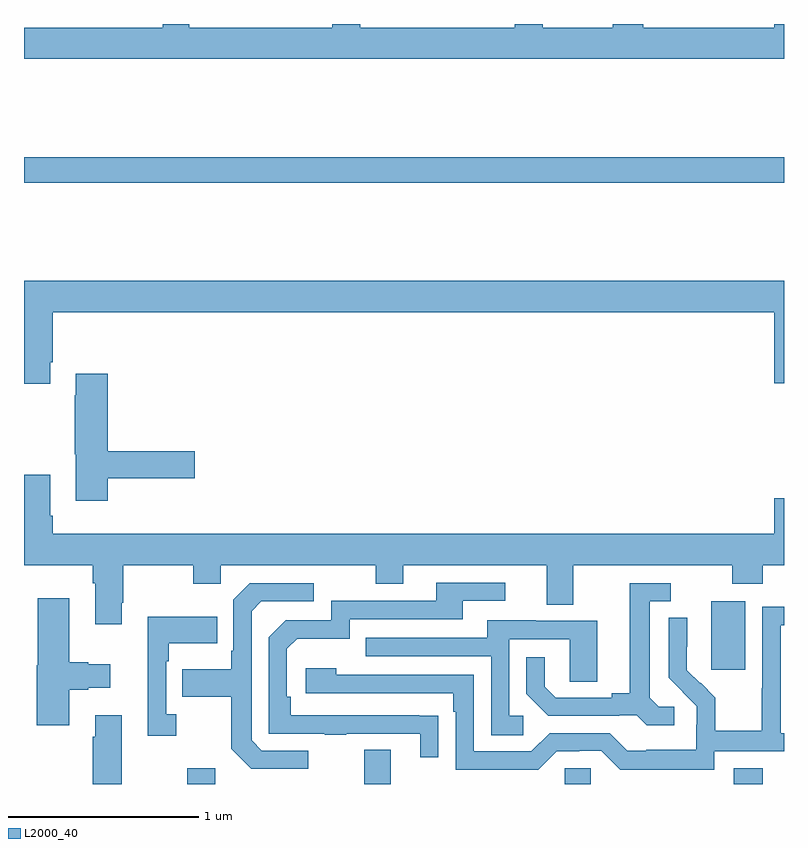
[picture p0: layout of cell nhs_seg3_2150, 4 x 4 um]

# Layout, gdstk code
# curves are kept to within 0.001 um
import gdstk
lib = gdstk.Library(unit=1e-6, precision=1e-09)
def R(c, l, rs):  # rectangles x0, y0, x1, y1
    for r in rs: c.add(gdstk.rectangle(r[:2], r[2:], *l))
def P(c, l, *ps):  # polygons
    for p in ps: c.add(gdstk.Polygon(p, *l))
L2000_40 = (2000, 40)

nhs_seg3_2150 = lib.new_cell('nhs_seg3_2150')
R(nhs_seg3_2150, L2000_40, [(221.86,730.4,222.007,730.483), (222.791,730.4,222.931,730.579), (223.845,730.4,223.983,730.482), (224.735,730.4,224.888,730.483), (224.618,731.001,224.797,731.362), (221,733.564,225,733.7)])
P(nhs_seg3_2150, L2000_40, [(225,734.4),(224.948,734.4),(224.948,734.38),(224.258,734.38),(224.258,734.4),(224.098,734.4),(224.098,734.38),(223.731,734.38),(223.731,734.4),(223.584,734.4),(223.584,734.38),(222.771,734.38),(222.771,734.4),(222.623,734.4),(222.623,734.38),(221.869,734.38),(221.869,734.4),(221.729,734.4),(221.729,734.38),(221,734.38),(221,734.216),(225,734.216)],
  [(221.137,732.619),(221.15,732.619),(221.15,732.884),(224.948,732.884),(224.948,732.51),(225,732.51),(225,733.048),(221,733.048),(221,732.507),(221.137,732.507)],
  [(221.441,732.01),(221.899,732.01),(221.899,732.152),(221.441,732.152),(221.441,732.559),(221.273,732.559),(221.273,732.446),(221.266,732.446),(221.266,732.135),(221.273,732.135),(221.273,731.892),(221.441,731.892)],
  [(221.515,731.353),(221.523,731.353),(221.523,731.552),(221.89,731.552),(221.89,731.453),(222.036,731.453),(222.036,731.552),(222.85,731.552),(222.85,731.453),(222.997,731.453),(222.997,731.552),(223.751,731.552),(223.751,731.344),(223.891,731.344),(223.891,731.552),(224.728,731.552),(224.728,731.453),(224.888,731.453),(224.888,731.552),(225,731.552),(225,731.905),(224.948,731.905),(224.948,731.716),(221.15,731.716),(221.15,731.812),(221.137,731.812),(221.137,732.028),(221,732.028),(221,731.552),(221.363,731.552),(221.363,731.456),(221.375,731.456),(221.375,731.241),(221.515,731.241)],
  [(223.181,730.76),(222.404,730.761),(222.404,730.858),(222.384,730.858),(222.384,731.112),(222.437,731.165),(222.714,731.165),(222.714,731.268),(223.309,731.268),(223.309,731.364),(223.534,731.364),(223.534,731.46),(223.169,731.46),(223.169,731.364),(222.618,731.364),(222.618,731.262),(222.378,731.262),(222.288,731.172),(222.288,730.665),(222.583,730.665),(222.583,730.66),(222.695,730.66),(222.695,730.665),(223.085,730.665),(223.085,730.542),(223.181,730.542)],
  [(222.496,730.575),(222.252,730.575),(222.198,730.629),(222.198,731.31),(222.249,731.361),(222.526,731.361),(222.526,731.457),(222.189,731.457),(222.102,731.37),(222.102,731.101),(222.09,731.101),(222.09,731.005),(221.833,731.005),(221.833,730.858),(222.09,730.858),(222.09,730.585),(222.195,730.479),(222.496,730.479)],
  [(224.422,730.806),(224.34,730.806),(224.293,730.853),(224.293,731.361),(224.404,731.361),(224.404,731.457),(224.189,731.457),(224.189,730.877),(224.093,730.877),(224.093,730.854),(223.798,730.854),(223.741,730.911),(223.741,731.068),(223.644,731.068),(223.644,730.874),(223.76,730.758),(224.132,730.758),(224.132,730.761),(224.226,730.761),(224.278,730.709),(224.422,730.709)],
  [(221.239,730.895),(221.339,730.895),(221.339,730.907),(221.455,730.907),(221.455,731.029),(221.339,731.029),(221.339,731.042),(221.239,731.042),(221.239,731.377),(221.072,731.377),(221.072,731.025),(221.066,731.025),(221.066,730.71),(221.239,730.71)],
  [(224.634,730.572),(225,730.572),(225,730.668),(224.982,730.668),(224.982,731.235),(225,731.235),(225,731.334),(224.886,731.334),(224.886,730.904),(224.884,730.904),(224.884,730.681),(224.639,730.681),(224.639,730.855),(224.562,730.932),(224.559,730.929),(224.489,731),(224.49,731.276),(224.394,731.276),(224.394,730.958),(224.54,730.81),(224.54,730.713),(224.538,730.713),(224.538,730.579),(224.275,730.579),(224.275,730.575),(224.175,730.575),(224.082,730.668),(223.767,730.668),(223.671,730.572),(223.368,730.572),(223.368,730.974),(222.644,730.974),(222.644,731.008),(222.483,731.008),(222.483,730.878),(223.259,730.878),(223.259,730.781),(223.272,730.781),(223.272,730.476),(223.707,730.476),(223.803,730.572),(223.922,730.572),(223.922,730.575),(224.037,730.575),(224.137,730.475),(224.634,730.475)],
  [(221.8,730.766),(221.748,730.766),(221.748,731.045),(221.761,731.045),(221.761,731.141),(222.017,731.141),(222.017,731.281),(221.651,731.281),(221.651,730.653),(221.8,730.653)],
  [(223.627,730.758),(223.554,730.758),(223.554,731.163),(223.872,731.163),(223.872,730.939),(224.017,730.939),(224.017,731.259),(223.693,731.259),(223.693,731.263),(223.439,731.263),(223.439,731.169),(222.799,731.169),(222.799,731.073),(223.458,731.073),(223.458,730.657),(223.627,730.657)],
  [(221.515,730.762),(221.375,730.762),(221.375,730.649),(221.363,730.649),(221.363,730.4),(221.515,730.4)])

lib.write_gds('nhs_seg3_2150.gds')
